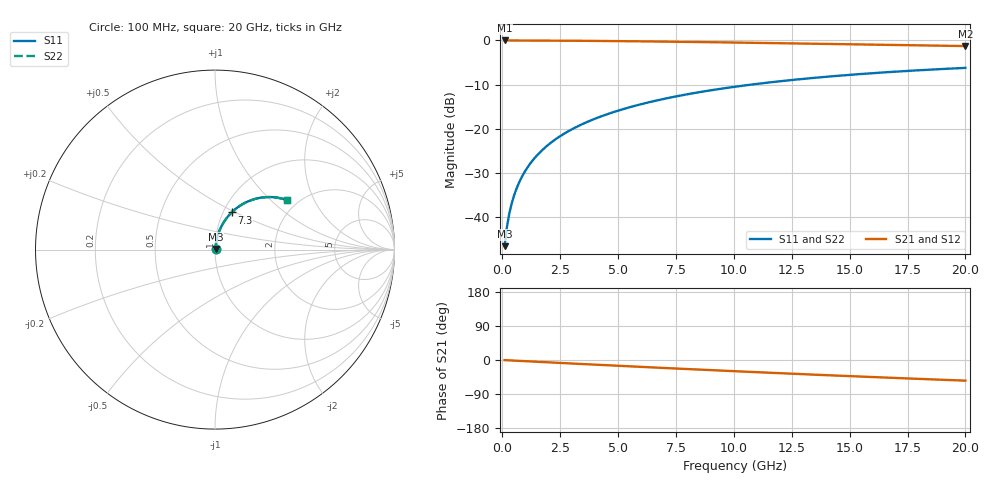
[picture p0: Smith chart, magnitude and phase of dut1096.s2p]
! Touchstone file exported from HFSS 2026.1.0
!  File:  C:/ffzhzh/LocalFiles/Ansys_Project_Files/temp_train_BSMRDL_1096_1783174697_51560.aedt
!  Generated:  10:19:44 PM Jul  4, 2026
!  Design:  BSMRDL
!  Project:  temp_train_BSMRDL_1096_1783174697_51560
! Variables:
!  h_bsmrdl = 4.53um
!  h_ox = 20um
!  h_rdl = 5um
!  h_sub = 80um
!  h_tmrdl = 5um
!  h_tsv = 80um
!  h_via = 3um
!  l_bsmrdl = 822.89um
!  l_sub = 1222.89um
!  l_tmrdl = 200um
!  m_sub = 200um
!  pitch = 55.45um
!  r_tsv = 6um
!  s_tmrdl = 10um
!  w_bsmrdl = 22.24um
!  w_sub = 500um
!  w_tmrdl = 12um
!  x_tsv_center1 = 206um
!  x_tsv_center2 = 1051.13um
!  x_tsv_center3 = 1263.13um
!  x_tsv_center4 = 2108.26um
!  x_tsv_center5 = 2320.26um
!  x_tsv_center6 = 3165.39um
# GHz S MA R 50.000000
! Terminal data exported
! Port[1] = BSM_RDL1_1_T1
! Port[2] = BSM_RDL1_1_T2
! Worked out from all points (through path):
!   200 points, 100 MHz to 20 GHz, reference 50 ohm
!   highest |S21| = -0.03 dB at 100 MHz (marker M1); lowest = -1.3 dB at 20 GHz (marker M2)
!   group delay of S21, straight-line fit = 7.57 ps
!   lowest |S11| = -46.6 dB at 100 MHz (marker M3), VSWR 1.01, Z = 50.3 + j0.357 ohm
!   |S11| at or under -10 dB: start of sweep to 10.77 GHz
!   |S22| runs from -46.6 to -6.2 dB; largest |S21 - S12| = 7e-15
!   S11 on the Smith chart (normalised r, x): 100 MHz: 1.01, +0.01; 7.3 GHz: 1.09, +0.48; 20 GHz: 1.77, +1.27
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0.1  0.004697 49.1  0.9969 -0.3  0.9969 -0.3  0.004697 49.1
! Gamma 0 0 0 0
! Port Impedance 50 0 50 0
0.2  0.007721 64.6  0.9967 -0.6  0.9967 -0.6  0.007721 64.6
0.3  0.01089 70.9  0.9966 -1.0  0.9966 -1.0  0.01089 70.9
0.4  0.0141 74.4  0.9964 -1.3  0.9964 -1.3  0.0141 74.4
0.5  0.01732 76.5  0.9963 -1.6  0.9963 -1.6  0.01732 76.5
0.7  0.02382 78.9  0.996 -2.2  0.996 -2.2  0.02382 78.9
1  0.03363 80.3  0.9956 -3.1  0.9956 -3.1  0.03363 80.3
1.2  0.04018 80.6  0.9952 -3.7  0.9952 -3.7  0.04018 80.6
1.4  0.04674 80.7  0.9949 -4.4  0.9949 -4.4  0.04674 80.7
1.7  0.05654 80.4  0.9942 -5.3  0.9942 -5.3  0.05654 80.4
2  0.06631 80.0  0.9934 -6.2  0.9934 -6.2  0.06631 79.9
2.7  0.08888 78.4  0.9911 -8.3  0.9911 -8.3  0.08888 78.4
3.5  0.1142 76.4  0.9878 -10.8  0.9878 -10.8  0.1142 76.4
4.2  0.1359 74.5  0.9844 -12.9  0.9844 -12.9  0.1359 74.5
5  0.1602 72.3  0.9801 -15.2  0.9801 -15.2  0.1602 72.3
6.8  0.2126 67.3  0.9689 -20.5  0.9689 -20.5  0.2126 67.3
7.3  0.2266 65.9  0.9654 -21.9  0.9654 -21.9  0.2266 65.9
8.6  0.2617 62.4  0.9559 -25.6  0.9559 -25.6  0.2617 62.3
10.1  0.3 58.4  0.9441 -29.8  0.9441 -29.8  0.3 58.3
13.4  0.3751 49.9  0.9162 -38.5  0.9162 -38.5  0.3751 49.8
16.7  0.4376 41.9  0.8879 -46.7  0.8879 -46.7  0.4377 41.8
20  0.488 34.3  0.8614 -54.5  0.8614 -54.5  0.488 34.2
